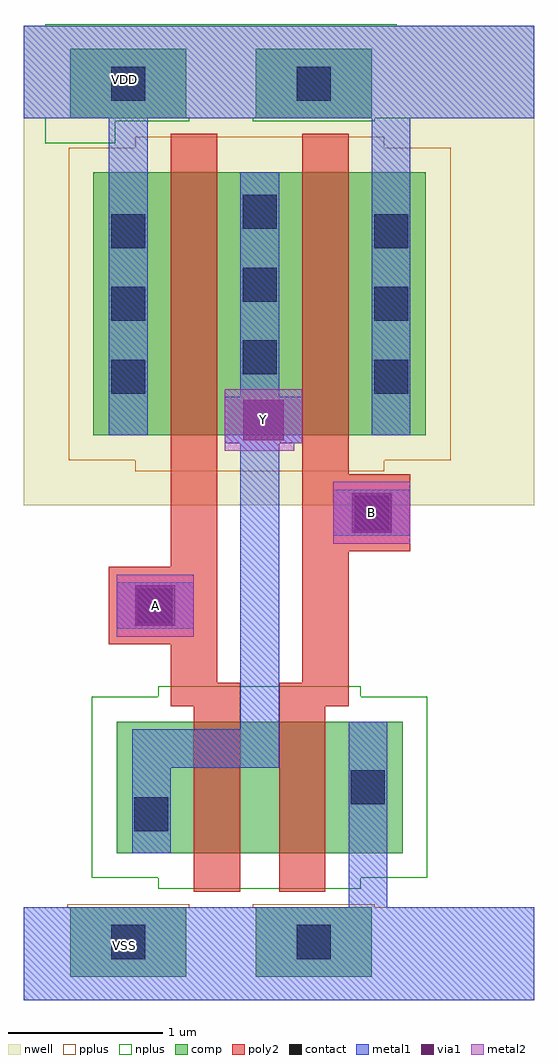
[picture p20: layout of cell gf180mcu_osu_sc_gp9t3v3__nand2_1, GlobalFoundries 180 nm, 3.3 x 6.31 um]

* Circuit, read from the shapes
.subckt gf180mcu_osu_sc_gp9t3v3__nand2_1 A B VDD VSS Y
XM1 n1 A Y VSS nfet_03v3 w=0.85u l=0.3u
XM2 VSS B n1 VSS nfet_03v3 w=0.85u l=0.3u
XM3 Y A VDD VDD pfet_03v3 w=1.7u l=0.3u
XM4 VDD B Y VDD pfet_03v3 w=1.7u l=0.3u
.ends

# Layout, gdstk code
import gdstk
lib = gdstk.Library(unit=1e-6, precision=1e-09)
def R(c, l, rs):  # rectangles x0, y0, x1, y1
    for r in rs: c.add(gdstk.rectangle(r[:2], r[2:], *l))
def A(c, l, x, y, w, h, nx, ny, dx, dy):  # array of equal rectangles
    R(c, l, [(x+i*dx, y+j*dy, x+i*dx+w, y+j*dy+h) for i in range(nx) for j in range(ny)])
nwell = (21, 0)
comp = (22, 0)
poly2 = (30, 0)
pplus = (31, 0)
nplus = (32, 0)
contact = (33, 0)
metal1 = (34, 0)
via1 = (35, 0)
metal2 = (36, 0)

gf180mcu_osu_sc_gp9t3v3_ = lib.new_cell('gf180mcu_osu_sc_gp9t3v3__nand2_1')
R(gf180mcu_osu_sc_gp9t3v3_, nwell, [(0,3.2,3.3,6.3)])
R(gf180mcu_osu_sc_gp9t3v3_, comp, [(0.3,0.15,1.05,0.6), (1.5,0.15,2.25,0.6), (0.6,0.95,2.45,1.8), (0.45,3.65,2.6,5.35), (0.3,5.7,1.05,6.15), (1.5,5.7,2.25,6.15)])
R(gf180mcu_osu_sc_gp9t3v3_, poly2, [(1.1,0.7,1.4,1.9), (1.65,0.7,1.95,1.9), (0.95,1.9,1.4,2.05), (1.65,1.9,2.1,2.05), (0.95,2.05,1.25,2.3), (1.8,2.05,2.1,2.9), (0.55,2.3,1.25,2.8), (0.95,2.8,1.25,5.6), (1.8,2.9,2.5,3.4), (1.8,3.4,2.1,5.6)])
R(gf180mcu_osu_sc_gp9t3v3_, pplus, [(0,0,3.3,0.6), (0.28,0.13,1.07,0.62), (1.48,0.13,2.27,0.62), (0.72,3.42,2.33,3.49), (0.29,3.49,2.76,5.51), (0.72,5.51,2.33,5.58)])
R(gf180mcu_osu_sc_gp9t3v3_, nplus, [(0.87,0.72,2.18,0.79), (0.44,0.79,2.61,1.96), (0.87,1.96,2.18,2.03), (0.14,5.54,0.59,5.68), (0.14,5.68,1.07,5.7), (1.48,5.68,2.27,5.7), (0,5.7,3.3,6.3), (0,5.7,3.3,6.3), (0.14,6.3,2.41,6.31)])
A(gf180mcu_osu_sc_gp9t3v3_, contact, 0.565, 3.92, 0.22, 0.22, 1, 3, 0, 0.47)
A(gf180mcu_osu_sc_gp9t3v3_, contact, 2.265, 3.92, 0.22, 0.22, 1, 3, 0, 0.47)
A(gf180mcu_osu_sc_gp9t3v3_, contact, 1.415, 4.045, 0.22, 0.22, 1, 3, 0, 0.47)
R(gf180mcu_osu_sc_gp9t3v3_, contact, [(0.565,0.265,0.785,0.485), (1.765,0.265,1.985,0.485), (0.715,1.09,0.935,1.31), (2.115,1.265,2.335,1.485), (0.74,2.44,0.96,2.66), (2.14,3.04,2.36,3.26), (0.565,5.815,0.785,6.035), (1.765,5.815,1.985,6.035)])
R(gf180mcu_osu_sc_gp9t3v3_, metal1, [(0,0,3.3,0.6), (2.1,0.6,2.35,1.8), (0.7,0.95,0.95,1.5), (0.7,1.5,1.65,1.75), (1.4,1.75,1.65,3.6), (0.6,2.4,1.1,2.7), (2,3,2.5,3.3), (1.3,3.6,1.8,3.9), (0.55,3.65,0.8,5.7), (2.25,3.65,2.5,5.7), (1.4,3.9,1.65,5.35), (0,5.7,3.3,6.3)])
R(gf180mcu_osu_sc_gp9t3v3_, via1, [(0.72,2.42,0.98,2.68), (2.12,3.02,2.38,3.28), (1.42,3.62,1.68,3.88)])
R(gf180mcu_osu_sc_gp9t3v3_, metal2, [(0.6,2.35,1.1,2.75), (2,2.95,2.5,3.35), (1.3,3.55,1.75,3.6), (1.3,3.6,1.8,3.95)])
gf180mcu_osu_sc_gp9t3v3_.add(gdstk.Label('VDD', (0.65,5.95), layer=22, texttype=0))
gf180mcu_osu_sc_gp9t3v3_.add(gdstk.Label('VSS', (0.65,0.35), layer=22, texttype=0))
gf180mcu_osu_sc_gp9t3v3_.add(gdstk.Label('A', (0.85,2.55), layer=36, texttype=10))
gf180mcu_osu_sc_gp9t3v3_.add(gdstk.Label('B', (2.25,3.15), layer=36, texttype=10))
gf180mcu_osu_sc_gp9t3v3_.add(gdstk.Label('Y', (1.55,3.75), layer=36, texttype=10))

lib.write_gds('gf180mcu_osu_sc_gp9t3v3__nand2_1.gds')
